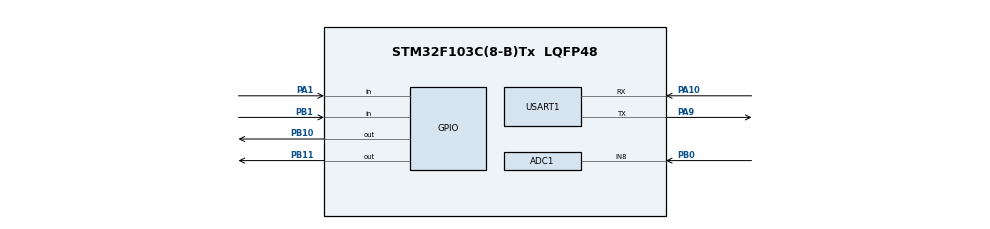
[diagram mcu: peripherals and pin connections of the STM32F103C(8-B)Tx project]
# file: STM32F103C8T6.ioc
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ADC1.Channel-0\#ChannelRegularConversion=ADC_CHANNEL_8
ADC1.NbrOfConversion=1
ADC1.NbrOfConversionFlag=1
ADC1.Rank-0\#ChannelRegularConversion=1
ADC1.SamplingTime-0\#ChannelRegularConversion=ADC_SAMPLETIME_1CYCLE_5
ADC1.master=1
FREERTOS.Tasks01=defaultTask,0,128,StartDefaultTask,Default,NULL,Static,defaultTaskBuffer,defaultTaskControlBlock;myTask02_button,3,128,StartTask02_button,Default,NULL,Static,myTask02_buttonBuffer,myTask02_buttonControlBlock;myTask03_displa,2,128,StartTask03_display,Default,NULL,Static,myTask03_displaBuffer,myTask03_displaControlBlock;myTask04_sensor,1,128,StartTask04_sensor,Default,NULL,Static,myTask04_sensorBuffer,myTask04_sensorControlBlock
Mcu.Family=STM32F1
Mcu.Name=STM32F103C(8-B)Tx
Mcu.Package=LQFP48
NVIC.PriorityGroup=NVIC_PRIORITYGROUP_4
PA1.Signal=GPIO_Input
PA10.Mode=Asynchronous
PA10.Signal=USART1_RX
PA13.Mode=Serial_Wire
PA13.Signal=SYS_JTMS-SWDIO
PA14.Mode=Serial_Wire
PA14.Signal=SYS_JTCK-SWCLK
PA9.Mode=Asynchronous
PA9.Signal=USART1_TX
PB0.Signal=ADCx_IN8
PB1.Signal=GPIO_Input
PB10.Signal=GPIO_Output
PB11.Signal=GPIO_Output
ProjectManager.HeapSize=0x200
ProjectManager.StackSize=0x400
ProjectManager.TargetToolchain=MDK-ARM V5.32
RCC.APB1Freq_Value=8000000
RCC.APB2Freq_Value=8000000
SH.ADCx_IN8.0=ADC1_IN8,IN8
USART1.VirtualMode=VM_ASYNC
VP_FREERTOS_VS_CMSIS_V1.Mode=CMSIS_V1
board=custom

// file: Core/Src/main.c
/* USER CODE BEGIN Header */
/**
  ******************************************************************************
  * @file           : main.c
  * @brief          : Main program body
  ******************************************************************************
  * @attention
  *
  * Copyright (c) 2024 STMicroelectronics.
  * All rights reserved.
  *
  * This software is licensed under terms that can be found in the LICENSE file
  * in the root directory of this software component.
  * If no LICENSE file comes with this software, it is provided AS-IS.
  *
  ******************************************************************************
  */
/* USER CODE END Header */
#include "main.h"
#include "cmsis_os.h"
#include "adc.h"
#include "usart.h"
#include "gpio.h"

/* USER CODE BEGIN Includes */
machine_state_t machine_state= { .display_flag = 1, .food_types = 0, .humidity_percent = 0 };
/* USER CODE END Includes */

void SystemClock_Config(void);
void MX_FREERTOS_Init(void);

int main(void)
{

  /* MCU Configuration--------------------------------------------------------*/

  /* Reset of all peripherals, Initializes the Flash interface and the Systick. */
  HAL_Init();

  /* Configure the system clock */
  SystemClock_Config();

  /* Initialize all configured peripherals */
  MX_GPIO_Init();
  MX_ADC1_Init();
  MX_USART1_UART_Init();

  /* Call init function for freertos objects (in cmsis_os2.c) */
  MX_FREERTOS_Init();

  /* Start scheduler */
  osKernelStart();

  /* We should never get here as control is now taken by the scheduler */

  /* Infinite loop */
  while (1)
  {

  }
}

void SystemClock_Config(void)
{
  RCC_OscInitTypeDef RCC_OscInitStruct = {0};
  RCC_ClkInitTypeDef RCC_ClkInitStruct = {0};
  RCC_PeriphCLKInitTypeDef PeriphClkInit = {0};

  /** Initializes the RCC Oscillators according to the specified parameters
  * in the RCC_OscInitTypeDef structure.
  */
  RCC_OscInitStruct.OscillatorType = RCC_OSCILLATORTYPE_HSI;
  RCC_OscInitStruct.HSIState = RCC_HSI_ON;
  RCC_OscInitStruct.HSICalibrationValue = RCC_HSICALIBRATION_DEFAULT;
  RCC_OscInitStruct.PLL.PLLState = RCC_PLL_NONE;
  if (HAL_RCC_OscConfig(&RCC_OscInitStruct) != HAL_OK)
  {
    Error_Handler();
  }

  /** Initializes the CPU, AHB and APB buses clocks
  */
  RCC_ClkInitStruct.ClockType = RCC_CLOCKTYPE_HCLK|RCC_CLOCKTYPE_SYSCLK
                              |RCC_CLOCKTYPE_PCLK1|RCC_CLOCKTYPE_PCLK2;
  RCC_ClkInitStruct.SYSCLKSource = RCC_SYSCLKSOURCE_HSI;
  RCC_ClkInitStruct.AHBCLKDivider = RCC_SYSCLK_DIV1;
  RCC_ClkInitStruct.APB1CLKDivider = RCC_HCLK_DIV1;
  RCC_ClkInitStruct.APB2CLKDivider = RCC_HCLK_DIV1;

  if (HAL_RCC_ClockConfig(&RCC_ClkInitStruct, FLASH_LATENCY_0) != HAL_OK)
  {
    Error_Handler();
  }
  PeriphClkInit.PeriphClockSelection = RCC_PERIPHCLK_ADC;
  PeriphClkInit.AdcClockSelection = RCC_ADCPCLK2_DIV2;
  if (HAL_RCCEx_PeriphCLKConfig(&PeriphClkInit) != HAL_OK)
  {
    Error_Handler();
  }
}

void Error_Handler(void)
{
  __disable_irq();
  while (1)
  {
  }
}

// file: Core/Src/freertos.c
/* USER CODE BEGIN Header */
/**
 ******************************************************************************
 * File Name          : freertos.c
 * Description        : Code for freertos applications
 ******************************************************************************
 * @attention
 *
 * Copyright (c) 2024 STMicroelectronics.
 * All rights reserved.
 *
 * This software is licensed under terms that can be found in the LICENSE file
 * in the root directory of this software component.
 * If no LICENSE file comes with this software, it is provided AS-IS.
 *
 ******************************************************************************
 */
/* USER CODE END Header */

#include "FreeRTOS.h"
#include "cmsis_os.h"
#include "main.h"
#include "task.h"

/* USER CODE BEGIN Includes */
#include "adc.h"
extern machine_state_t machine_state;
/* USER CODE END Includes */

osThreadId          defaultTaskHandle;
uint32_t            defaultTaskBuffer[128];
osStaticThreadDef_t defaultTaskControlBlock;
osThreadId          myTask02_buttonHandle;
uint32_t            myTask02_buttonBuffer[128];
osStaticThreadDef_t myTask02_buttonControlBlock;
osThreadId          myTask03_displaHandle;
uint32_t            myTask03_displaBuffer[128];
osStaticThreadDef_t myTask03_displaControlBlock;
osThreadId          myTask04_sensorHandle;
uint32_t            myTask04_sensorBuffer[128];
osStaticThreadDef_t myTask04_sensorControlBlock;

void StartDefaultTask(void const* argument);
void StartTask02_button(void const* argument);
void StartTask03_display(void const* argument);
void StartTask04_sensor(void const* argument);

void MX_FREERTOS_Init(void); /* (MISRA C 2004 rule 8.1) */

/* GetIdleTaskMemory prototype (linked to static allocation support) */
void vApplicationGetIdleTaskMemory(StaticTask_t** ppxIdleTaskTCBBuffer, StackType_t** ppxIdleTaskStackBuffer, uint32_t* pulIdleTaskStackSize);

/* USER CODE BEGIN GET_IDLE_TASK_MEMORY */
static StaticTask_t xIdleTaskTCBBuffer;
static StackType_t  xIdleStack[configMINIMAL_STACK_SIZE];

void vApplicationGetIdleTaskMemory(StaticTask_t** ppxIdleTaskTCBBuffer, StackType_t** ppxIdleTaskStackBuffer, uint32_t* pulIdleTaskStackSize)
{
    *ppxIdleTaskTCBBuffer   = &xIdleTaskTCBBuffer;
    *ppxIdleTaskStackBuffer = &xIdleStack[0];
    *pulIdleTaskStackSize   = configMINIMAL_STACK_SIZE;
    /* place for user code */
}
/* USER CODE END GET_IDLE_TASK_MEMORY */

void MX_FREERTOS_Init(void)
{

    /* Create the thread(s) */
    /* definition and creation of defaultTask */
    osThreadStaticDef(defaultTask, StartDefaultTask, osPriorityNormal, 0, 128, defaultTaskBuffer, &defaultTaskControlBlock);
    defaultTaskHandle = osThreadCreate(osThread(defaultTask), NULL);

    /* definition and creation of myTask02_button */
    osThreadStaticDef(myTask02_button, StartTask02_button, osPriorityRealtime, 0, 128, myTask02_buttonBuffer, &myTask02_buttonControlBlock);
    myTask02_buttonHandle = osThreadCreate(osThread(myTask02_button), NULL);

    /* definition and creation of myTask03_displa */
    osThreadStaticDef(myTask03_displa, StartTask03_display, osPriorityHigh, 0, 128, myTask03_displaBuffer, &myTask03_displaControlBlock);
    myTask03_displaHandle = osThreadCreate(osThread(myTask03_displa), NULL);

    /* definition and creation of myTask04_sensor */
    osThreadStaticDef(myTask04_sensor, StartTask04_sensor, osPriorityAboveNormal, 0, 128, myTask04_sensorBuffer, &myTask04_sensorControlBlock);
    myTask04_sensorHandle = osThreadCreate(osThread(myTask04_sensor), NULL);

}

void StartDefaultTask(void const* argument)
{
    for (;;)
    {
        osDelay(1);
    }
}

/* USER CODE BEGIN Header_StartTask02_button */
/**
 * @brief Function implementing the myTask02_button thread.
 * @param argument: Not used
 * @retval None
 */
#include "../../User/button.h"
void sw0_button_down_callcak()
{
    machine_state.food_types++;
    if (machine_state.food_types > 9)
    {
        machine_state.food_types = 0;
    }
}
void sw0_button_long_callcak()
{
    if (machine_state.display_flag == 1)
    {
        machine_state.display_flag = 0;
    }
    else
    {
        machine_state.display_flag = 1;
    }
}
/* USER CODE END Header_StartTask02_button */
void StartTask02_button(void const* argument)
{
    /* USER CODE BEGIN StartTask02_button */
    Button_Attach_ini();
    /* Infinite loop */
    for (;;)
    {
        Button_Process();
        osDelay(pdMS_TO_TICKS(20));
    }
    /* USER CODE END StartTask02_button */
}

/* USER CODE BEGIN Header_StartTask03_display */
/**
 * @brief Function implementing the myTask03_displa thread.
 * @param argument: Not used
 * @retval None
 */
#include "../../User/tm1637.h"
/* USER CODE END Header_StartTask03_display */
void StartTask03_display(void const* argument)
{
    /* USER CODE BEGIN StartTask03_display */
    tm1637_task_init();
    /* Infinite loop */
    for (;;)
    {
        if (machine_state.humidity_percent > 99)
        {
            machine_state.humidity_percent = 99;
        }
        if (machine_state.food_types > 9)
        {
            machine_state.food_types = 9;
        }
        machine_state.humidity_percent_10 = machine_state.humidity_percent / 10 % 10;
        machine_state.humidity_percent_1  = machine_state.humidity_percent % 10;
        tm1637_task_proceess();
        osDelay(pdMS_TO_TICKS(1000));
    }
    /* USER CODE END StartTask03_display */
}

void StartTask04_sensor(void const* argument)
{
    /* USER CODE BEGIN StartTask04_sensor */
    /* Infinite loop */
    for (;;)
    {
        HAL_ADC_Start(&hadc1);
        HAL_ADC_PollForConversion(&hadc1, 0xffff);
        machine_state.adc1_value                  = HAL_ADC_GetValue(&hadc1);
        machine_state.adc1_voltage                = 3.3 * machine_state.adc1_value / 4096;
        machine_state.humidity_percent = machine_state.adc1_voltage * 30;
        HAL_ADC_Stop(&hadc1);
        osDelay(pdMS_TO_TICKS(1000));
    }
    /* USER CODE END StartTask04_sensor */
}
